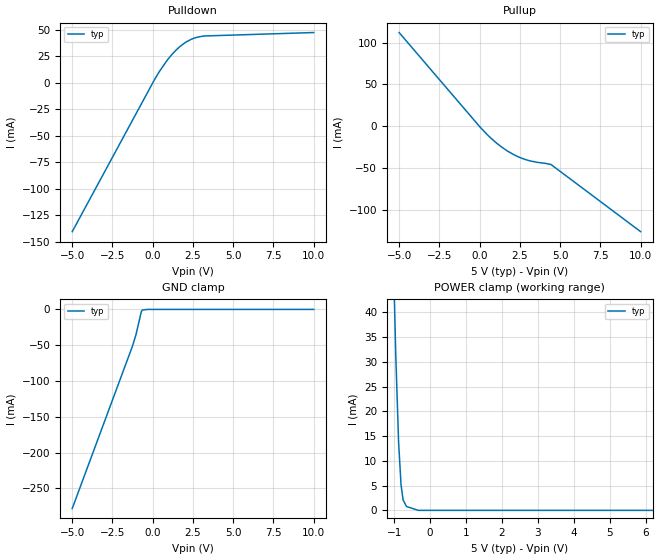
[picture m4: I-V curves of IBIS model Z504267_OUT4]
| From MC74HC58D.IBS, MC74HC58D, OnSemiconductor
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| (C) COPYRIGHT 1993-2000
| MENTOR GRAPHICS CORPORATION
| ICX STANDARD LIBRARY, ICX PROJECT MODELING,
| ICX CUSTOM MODELING, ICX VENDOR MODEL
| ALL RIGHTS RESERVED.
| THE FOLLOWING ARE TRADEMARKS OR SERVICE MARKS OF
| MENTOR GRAPHICS CORPORATION:ICX (R), ICX STANDARD
| LIBRARY(R), ICX PROJECT MODELING(R), ICX CUSTOM
| MODELING(R), qualityIBIS(TM), MODELVIEWER(TM),
| AND MODELEDITOR(TM)
| ALL COPIES OF SOFTWARE, INCLUDING BUT NOT LIMITED TO
| ANY MODIFICATIONS, ENHANCEMENTS OR DERIVATIVE WORKS,
| MUST CONTAIN ALL MENTOR GRAPHICS CORPORATION'S
| NOTICES AND LEGENDS, INCLUDING THOSE EMBEDDED IN
| SOFTWARE AND THOSE AFFIXED TO SOFTWARE MEDIUM
| AND CONTAINER, AS RECEIVED FROM MENTOR GRAPHICS
| CORPORATION.
| Model Application Version 1.89 2/18/99.
[Model] Z504267_OUT4
Model_type Output
Vref=0.000V
Rref=500.0Mohms
Cref=50.00pF
Vmeas=2.500V
C_comp 8.000pF NA NA
| variable typ   min   max
[Voltage Range] 5.000V NA NA
[POWER Clamp Reference] 5.000V NA NA
[Pullup Reference] 5.000V NA NA
[Pulldown Reference] 0.000V NA NA
[GND Clamp Reference] 0.000V NA NA
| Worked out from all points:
|   slope of the pulldown table from 0 to 0.75 V, typ, clamps not added: 41.3 ohm
|   slope of the pullup table from 0 to 0.75 V, typ, clamps not added: 51 ohm
|   GND clamp passes 1 mA (typ) near -0.65 V on its own axis
|   POWER clamp passes 1 mA (typ) near -0.67 V on its own axis
[GND Clamp]
-5V       -278.1mA   NA         NA
-1.251V   -50.82mA   NA         NA
-1.036V   -34.92mA   NA         NA
-706.4mV  -2.921mA   NA         NA
-645.9mV  -832.4uA   NA         NA
-323mV    0A         NA         NA
10V       0A         NA         NA
[Pulldown]
-5V       -140.6mA   NA         NA
102.6mV   2.875mA    NA         NA
415.9mV   10.82mA    NA         NA
918.6mV   21.82mA    NA         NA
1.178V    26.63mA    NA         NA
1.685V    34.29mA    NA         NA
2.356V    40.91mA    NA         NA
3.132V    44.28mA    NA         NA
10V       47.57mA    NA         NA
[Pullup]
-5V       112mA      NA         NA
21mV      -1.04mA    NA         NA
664mV     -13.82mA   NA         NA
1.077V    -20.76mA   NA         NA
1.729V    -29.85mA   NA         NA
2.515V    -37.75mA   NA         NA
3.252V    -42.22mA   NA         NA
4.424V    -45.88mA   NA         NA
10V       -126.4mA   NA         NA
[POWER Clamp]
-5V       1.696A     NA         NA
-1.26V    132.9mA    NA         NA
-1.06V    61.89mA    NA         NA
-957mV    31.51mA    NA         NA
-878mV    13.8mA     NA         NA
-810mV    5.164mA    NA         NA
-752mV    2.091mA    NA         NA
-657mV    780.2uA    NA         NA
-328.5mV  0A         NA         NA
10V       0A         NA         NA
[Ramp]
| variable typ min max
dV/dt_r 2.748/1.346n NA NA
dV/dt_f 2.748/1.126n NA NA
R_load = 500.0Ohms
